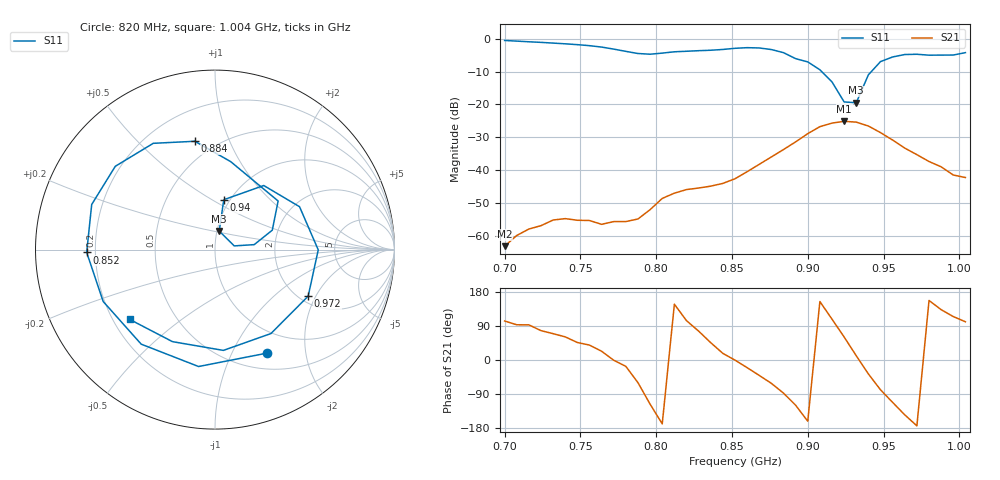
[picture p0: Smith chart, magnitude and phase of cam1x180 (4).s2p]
# Hz S RI R 50
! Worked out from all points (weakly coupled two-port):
!   39 points, 700 MHz to 1.004 GHz, reference 50 ohm
!   highest |S21| = -25.16 dB at 924 MHz (marker M1); lowest = -63.2 dB at 700 MHz (marker M2)
!   lowest |S11| = -19.5 dB at 932 MHz (marker M3), VSWR 1.24, Z = 51.3 + j10.7 ohm
!   |S11| at or under -10 dB: 909.2 MHz to 942 MHz (32.77 MHz wide, 3.54 % of centre)
!   S12 and S22 are empty: the file has one direction only
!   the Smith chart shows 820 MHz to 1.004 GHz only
!   S11 on the Smith chart (normalised r, x): 820 MHz: 0.70, -1.37; 852 MHz: 0.17, -0.01; 884 MHz: 0.39, +0.75; 940 MHz: 0.94, +0.57; 972 MHz: 2.22, -1.74; 1.004 GHz: 0.27, -0.33
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7e8  0.7635 0.5515  -0.000155 0.000675  0 0  0 0
7.24e8  0.8451 -0.2485  0.000308 0.00139  0 0  0 0
7.4e8  0.4554 -0.7021  0.000882 0.00159  0 0  0 0
7.56e8  -0.1942 -0.76  0.00132 0.00108  0 0  0 0
7.72e8  -0.6661 -0.1993  0.00164 -1.92e-05  0 0  0 0
7.8e8  -0.6011 0.2266  0.00157 -0.000477  0 0  0 0
7.96e8  0.2346 0.5322  -0.00112 -0.00223  0 0  0 0
8.04e8  0.5741 0.1886  -0.00363 -0.000733  0 0  0 0
8.2e8  0.2877 -0.5771  -0.00121 0.0049  0 0  0 0
8.36e8  -0.4113 -0.5267  0.00398 0.00406  0 0  0 0
8.52e8  -0.7149 -0.0158  0.00737 -4.1e-05  0 0  0 0
8.68e8  -0.5555 0.4641  0.00927 -0.00798  0 0  0 0
8.84e8  -0.1123 0.6035  0.000924 -0.0205  0 0  0 0
9e8  0.3518 0.2707  -0.034 -0.0114  0 0  0 0
9.08e8  0.3192 0.1084  -0.0413 0.0199  0 0  0 0
9.24e8  0.1071 0.0206  0.027 0.0482  0 0  0 0
9.32e8  0.0235 0.1034  0.0527 0.0104  0 0  0 0
9.4e8  0.0489 0.2779  0.0375 -0.028  0 0  0 0
9.56e8  0.471 0.2389  -0.0107 -0.0266  0 0  0 0
9.72e8  0.5192 -0.2593  -0.0171 -0.00187  0 0  0 0
9.88e8  0.0468 -0.5616  -0.00761 0.00822  0 0  0 0
1.004e9  -0.4752 -0.389  -0.00145 0.00756  0 0  0 0
